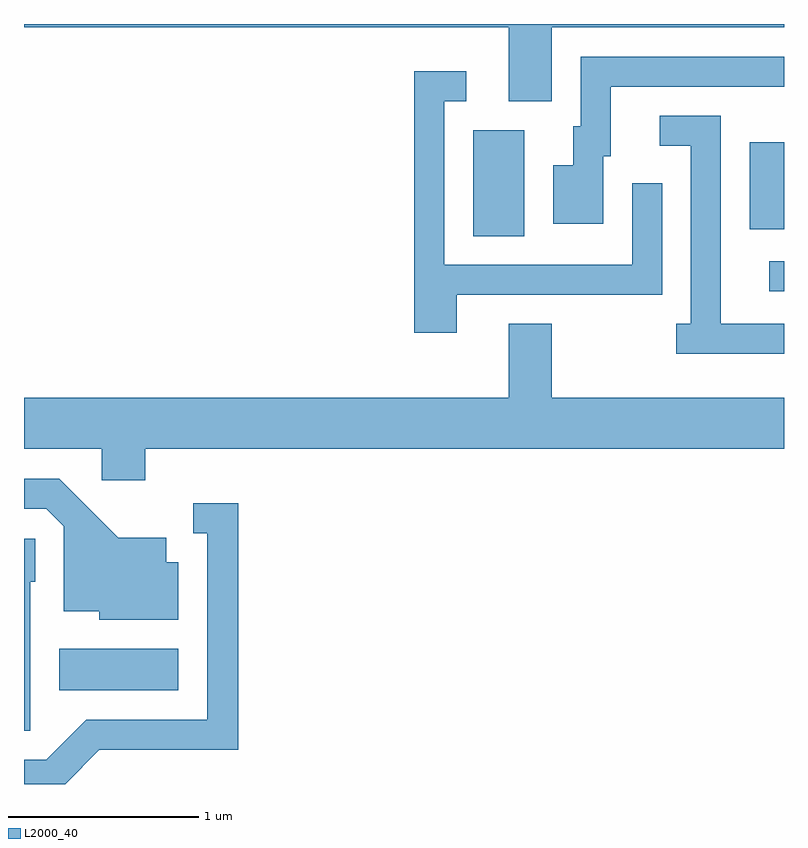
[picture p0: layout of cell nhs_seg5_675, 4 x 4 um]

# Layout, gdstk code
import gdstk
lib = gdstk.Library(unit=1e-6, precision=1e-09)
def R(c, l, rs):  # rectangles x0, y0, x1, y1
    for r in rs: c.add(gdstk.rectangle(r[:2], r[2:], *l))
def P(c, l, *ps):  # polygons
    for p in ps: c.add(gdstk.Polygon(p, *l))
L2000_40 = (2000, 40)

nhs_seg5_675 = lib.new_cell('nhs_seg5_675')
R(nhs_seg5_675, L2000_40, [(203.796,1526.566,204.424,1526.784), (207.533,1528.666,207.611,1528.824), (205.976,1528.956,206.244,1529.514), (207.431,1528.991,207.611,1529.449)])
P(nhs_seg5_675, L2000_40, [(206.389,1530.056),(207.611,1530.056),(207.611,1530.072),(203.611,1530.072),(203.611,1530.056),(206.161,1530.056),(206.161,1529.666),(206.389,1529.666)],
  [(206.659,1529.376),(206.699,1529.376),(206.699,1529.741),(207.611,1529.741),(207.611,1529.899),(206.541,1529.899),(206.541,1529.534),(206.501,1529.534),(206.501,1529.329),(206.396,1529.329),(206.396,1529.021),(206.659,1529.021)],
  [(205.889,1528.646),(206.969,1528.646),(206.969,1529.233),(206.811,1529.233),(206.811,1528.804),(205.824,1528.804),(205.824,1529.666),(205.938,1529.666),(205.938,1529.824),(205.666,1529.824),(205.666,1528.446),(205.889,1528.446)],
  [(207.611,1528.494),(207.279,1528.494),(207.279,1529.589),(206.958,1529.589),(206.958,1529.431),(207.121,1529.431),(207.121,1528.494),(207.043,1528.494),(207.043,1528.336),(207.611,1528.336)],
  [(204.249,1527.836),(207.611,1527.836),(207.611,1528.104),(206.389,1528.104),(206.389,1528.494),(206.161,1528.494),(206.161,1528.104),(203.611,1528.104),(203.611,1527.836),(204.021,1527.836),(204.021,1527.671),(204.249,1527.671)],
  [(204.424,1527.239),(204.359,1527.239),(204.359,1527.369),(204.107,1527.369),(203.797,1527.679),(203.611,1527.679),(203.611,1527.521),(203.729,1527.521),(203.821,1527.429),(203.821,1526.981),(204.006,1526.981),(204.006,1526.936),(204.424,1526.936)],
  [(204.007,1526.251),(204.739,1526.251),(204.739,1527.549),(204.503,1527.549),(204.503,1527.391),(204.576,1527.391),(204.576,1526.409),(203.939,1526.409),(203.729,1526.199),(203.611,1526.199),(203.611,1526.072),(203.828,1526.072)],
  [(203.644,1527.136),(203.669,1527.136),(203.669,1527.364),(203.611,1527.364),(203.611,1526.351),(203.644,1526.351)])

lib.write_gds('nhs_seg5_675.gds')
